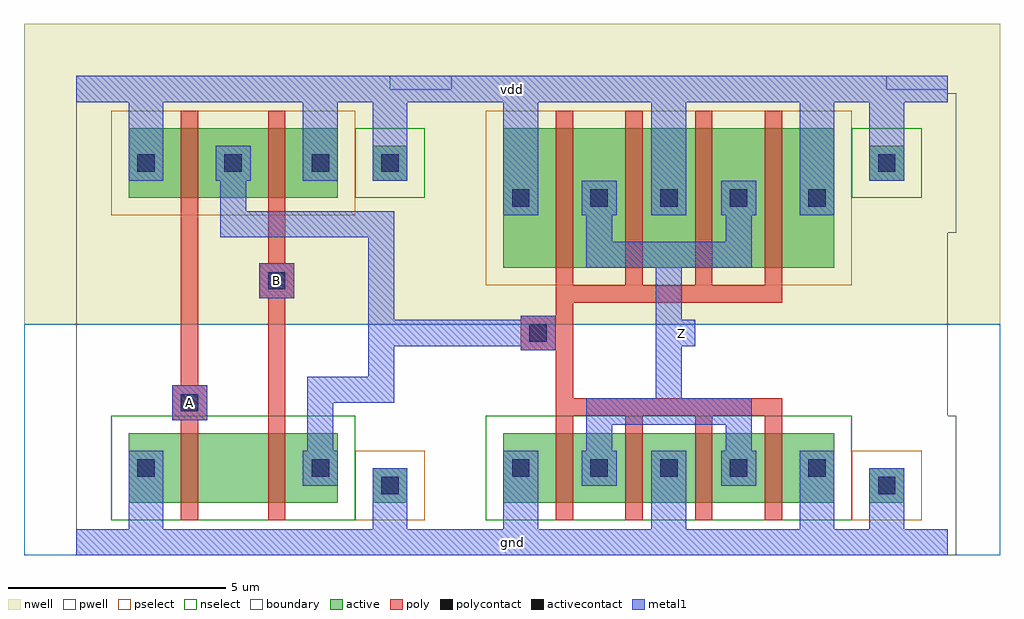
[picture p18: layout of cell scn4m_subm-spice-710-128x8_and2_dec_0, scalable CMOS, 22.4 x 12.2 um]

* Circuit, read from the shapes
.subckt scn4m_subm-spice-710-128x8_and2_dec_0 A B Z gnd vdd
M1 scn4m_subm-spice-710-128x8_pnand2_0/scn4m_subm-spice-710-128x8_nmos_m1_w1_600_sm1_dactive_2/D A gnd gnd nfet w=1.6u l=0.4u
M2 scn4m_subm-spice-710-128x8_pinv_0_1/A B scn4m_subm-spice-710-128x8_pnand2_0/scn4m_subm-spice-710-128x8_nmos_m1_w1_600_sm1_dactive_2/D gnd nfet w=1.6u l=0.4u
M3 Z scn4m_subm-spice-710-128x8_pinv_0_1/A gnd gnd nfet w=1.6u l=0.4u m=4
M4 scn4m_subm-spice-710-128x8_pinv_0_1/A A vdd vdd pfet w=1.6u l=0.4u
M5 vdd B scn4m_subm-spice-710-128x8_pinv_0_1/A vdd pfet w=1.6u l=0.4u
M6 Z scn4m_subm-spice-710-128x8_pinv_0_1/A vdd vdd pfet w=3.2u l=0.4u m=4
.ends

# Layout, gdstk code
import gdstk
lib = gdstk.Library(unit=1e-6, precision=1e-09)
def R(c, l, rs):  # rectangles x0, y0, x1, y1
    for r in rs: c.add(gdstk.rectangle(r[:2], r[2:], *l))
def A(c, l, x, y, w, h, nx, ny, dx, dy):  # array of equal rectangles
    R(c, l, [(x+i*dx, y+j*dy, x+i*dx+w, y+j*dy+h) for i in range(nx) for j in range(ny)])
pwell = (41, 0)
nwell = (42, 0)
active = (43, 0)
pselect = (44, 0)
nselect = (45, 0)
poly = (46, 0)
polycontact = (47, 0)
activecontact = (48, 0)
metal1 = (49, 0)
boundary = (63, 0)

scn4m_subm_spice_710_128 = lib.new_cell('scn4m_subm-spice-710-128x8_contact_12')
R(scn4m_subm_spice_710_128, nwell, [(-1.2,-1.2,2,2)])
R(scn4m_subm_spice_710_128, active, [(0,0,0.8,0.8)])
R(scn4m_subm_spice_710_128, pselect, [(-0.4,-0.4,1.2,1.2)])
R(scn4m_subm_spice_710_128, activecontact, [(0.2,0.2,0.6,0.6)])
R(scn4m_subm_spice_710_128, metal1, [(0,0,0.8,0.8)])
R(scn4m_subm_spice_710_128, boundary, [(-1.2,-1.2,2,2)])

c_scn4m_subm_spice_710_128 = lib.new_cell('scn4m_subm-spice-710-128x8_pmos_m1_w1_600_sm1_dm1')
R(c_scn4m_subm_spice_710_128, nwell, [(-1.2,-1.2,4,2.8)])
R(c_scn4m_subm_spice_710_128, active, [(0,0,2.8,1.6)])
R(c_scn4m_subm_spice_710_128, pselect, [(-0.4,-0.4,3.2,2)])
R(c_scn4m_subm_spice_710_128, poly, [(1.2,-0.4,1.6,2), (1.2,-0.4,1.6,2)])
R(c_scn4m_subm_spice_710_128, metal1, [(0,0.4,0.8,1.2), (2,0.4,2.8,1.2)])
R(c_scn4m_subm_spice_710_128, boundary, [(-1.2,-1.2,4,2.8)])
c_scn4m_subm_spice_710_128.add(gdstk.Reference(scn4m_subm_spice_710_128, (0,0.4)))
c_scn4m_subm_spice_710_128.add(gdstk.Reference(scn4m_subm_spice_710_128, (2,0.4)))
c_scn4m_subm_spice_710_128.add(gdstk.Label('G', (1.4,0.8), layer=46, texttype=0))
c_scn4m_subm_spice_710_128.add(gdstk.Label('S', (0.4,0.8), layer=49, texttype=0))
c_scn4m_subm_spice_710_128.add(gdstk.Label('D', (2.4,0.8), layer=49, texttype=0))

c_scn4m_subm_spice_710_128_ = lib.new_cell('scn4m_subm-spice-710-128x8_contact_11')
R(c_scn4m_subm_spice_710_128_, pwell, [(-1.2,-1.2,2,2)])
R(c_scn4m_subm_spice_710_128_, active, [(0,0,0.8,0.8)])
R(c_scn4m_subm_spice_710_128_, nselect, [(-0.4,-0.4,1.2,1.2)])
R(c_scn4m_subm_spice_710_128_, activecontact, [(0.2,0.2,0.6,0.6)])
R(c_scn4m_subm_spice_710_128_, metal1, [(0,0,0.8,0.8)])
R(c_scn4m_subm_spice_710_128_, boundary, [(-1.2,-1.2,2,2)])

c_scn4m_subm_spice_710_128__ = lib.new_cell('scn4m_subm-spice-710-128x8_nmos_m1_w1_600_sm1_dactive')
R(c_scn4m_subm_spice_710_128__, pwell, [(-1.2,-1.2,4,2.8)])
R(c_scn4m_subm_spice_710_128__, active, [(0,0,2.8,1.6), (2.1,0.5,2.7,1.1)])
R(c_scn4m_subm_spice_710_128__, nselect, [(-0.4,-0.4,3.2,2)])
R(c_scn4m_subm_spice_710_128__, poly, [(1.2,-0.4,1.6,2), (1.2,-0.4,1.6,2)])
R(c_scn4m_subm_spice_710_128__, metal1, [(0,0.4,0.8,1.2)])
R(c_scn4m_subm_spice_710_128__, boundary, [(-1.2,-1.2,4,2.8)])
c_scn4m_subm_spice_710_128__.add(gdstk.Reference(c_scn4m_subm_spice_710_128_, (0,0.4)))
c_scn4m_subm_spice_710_128__.add(gdstk.Label('G', (1.4,0.8), layer=46, texttype=0))
c_scn4m_subm_spice_710_128__.add(gdstk.Label('S', (0.4,0.8), layer=49, texttype=0))
c_scn4m_subm_spice_710_128__.add(gdstk.Label('D', (2.4,0.8), layer=43, texttype=0))

c_scn4m_subm_spice_710_128___ = lib.new_cell('scn4m_subm-spice-710-128x8_nmos_m1_w1_600_sactive_dm1')
R(c_scn4m_subm_spice_710_128___, pwell, [(-1.2,-1.2,4,2.8)])
R(c_scn4m_subm_spice_710_128___, active, [(0,0,2.8,1.6), (0.1,0.5,0.7,1.1)])
R(c_scn4m_subm_spice_710_128___, nselect, [(-0.4,-0.4,3.2,2)])
R(c_scn4m_subm_spice_710_128___, poly, [(1.2,-0.4,1.6,2), (1.2,-0.4,1.6,2)])
R(c_scn4m_subm_spice_710_128___, metal1, [(2,0.4,2.8,1.2)])
R(c_scn4m_subm_spice_710_128___, boundary, [(-1.2,-1.2,4,2.8)])
c_scn4m_subm_spice_710_128___.add(gdstk.Reference(c_scn4m_subm_spice_710_128_, (2,0.4)))
c_scn4m_subm_spice_710_128___.add(gdstk.Label('G', (1.4,0.8), layer=46, texttype=0))
c_scn4m_subm_spice_710_128___.add(gdstk.Label('S', (0.4,0.8), layer=43, texttype=0))
c_scn4m_subm_spice_710_128___.add(gdstk.Label('D', (2.4,0.8), layer=49, texttype=0))

c_scn4m_subm_spice_710_128____ = lib.new_cell('scn4m_subm-spice-710-128x8_contact_13')
R(c_scn4m_subm_spice_710_128____, nwell, [(-1.2,-1.2,2,2)])
R(c_scn4m_subm_spice_710_128____, active, [(0,0,0.8,0.8)])
R(c_scn4m_subm_spice_710_128____, nselect, [(-0.4,-0.4,1.2,1.2)])
R(c_scn4m_subm_spice_710_128____, activecontact, [(0.2,0.2,0.6,0.6)])
R(c_scn4m_subm_spice_710_128____, metal1, [(0,0,0.8,0.8)])
R(c_scn4m_subm_spice_710_128____, boundary, [(-1.2,-1.2,2,2)])

c_scn4m_subm_spice_710_128_____ = lib.new_cell('scn4m_subm-spice-710-128x8_contact_14')
R(c_scn4m_subm_spice_710_128_____, pwell, [(-1.2,-1.2,2,2)])
R(c_scn4m_subm_spice_710_128_____, active, [(0,0,0.8,0.8)])
R(c_scn4m_subm_spice_710_128_____, pselect, [(-0.4,-0.4,1.2,1.2)])
R(c_scn4m_subm_spice_710_128_____, activecontact, [(0.2,0.2,0.6,0.6)])
R(c_scn4m_subm_spice_710_128_____, metal1, [(0,0,0.8,0.8)])
R(c_scn4m_subm_spice_710_128_____, boundary, [(-1.2,-1.2,2,2)])

c_scn4m_subm_spice_710_128______ = lib.new_cell('scn4m_subm-spice-710-128x8_contact_15')
R(c_scn4m_subm_spice_710_128______, poly, [(0,0,0.8,0.8)])
R(c_scn4m_subm_spice_710_128______, polycontact, [(0.2,0.2,0.6,0.6)])
R(c_scn4m_subm_spice_710_128______, metal1, [(0,0,0.8,0.8)])
R(c_scn4m_subm_spice_710_128______, boundary, [(0,0,0.8,0.8)])

c_scn4m_subm_spice_710_128_______ = lib.new_cell('scn4m_subm-spice-710-128x8_pnand2')
R(c_scn4m_subm_spice_710_128_______, pwell, [(-1.2,-0.3,9.8,5)])
R(c_scn4m_subm_spice_710_128_______, nwell, [(-1.2,5,9.8,11.9)])
R(c_scn4m_subm_spice_710_128_______, poly, [(2.4,2.8,2.6,3.6), (2.4,2.9,2.8,7.5), (4.4,2.9,4.8,7.5), (4.4,5.6,4.6,6.4)])
R(c_scn4m_subm_spice_710_128_______, metal1, [(0,-0.3,8.6,0.3), (1.2,-0.3,2,1.3), (6.8,0,7.6,1.3), (5.3,2.1,5.9,3.5), (2.2,2.8,3,3.6), (5.3,3.2,5.9,3.8), (5.6,3.2,7,3.8), (6.7,3.2,7.3,3.8), (6.7,3.5,7.3,7.3), (4.2,5.6,5,6.4), (3.3,7,3.9,7.6), (3.6,7,7,7.6), (6.7,7,7.3,7.6), (3.3,7.3,3.9,8.3), (1.2,8.3,2,10.7), (5.2,8.3,6,10.7), (6.8,8.7,7.6,10.4), (0,10.1,8.6,10.7)])
R(c_scn4m_subm_spice_710_128_______, boundary, [(0,0,8.6,10.4), (0,0,8.6,10.4)])
c_scn4m_subm_spice_710_128_______.add(gdstk.Reference(c_scn4m_subm_spice_710_128, (1.2,7.9)))
c_scn4m_subm_spice_710_128_______.add(gdstk.Reference(c_scn4m_subm_spice_710_128, (3.2,7.9)))
c_scn4m_subm_spice_710_128_______.add(gdstk.Reference(c_scn4m_subm_spice_710_128__, (1.2,0.9)))
c_scn4m_subm_spice_710_128_______.add(gdstk.Reference(c_scn4m_subm_spice_710_128___, (3.2,0.9)))
c_scn4m_subm_spice_710_128_______.add(gdstk.Reference(c_scn4m_subm_spice_710_128____, (6.8,8.3)))
c_scn4m_subm_spice_710_128_______.add(gdstk.Reference(c_scn4m_subm_spice_710_128_____, (6.8,0.9)))
c_scn4m_subm_spice_710_128_______.add(gdstk.Reference(c_scn4m_subm_spice_710_128______, (2.2,2.8)))
c_scn4m_subm_spice_710_128_______.add(gdstk.Reference(c_scn4m_subm_spice_710_128______, (4.2,5.6)))
c_scn4m_subm_spice_710_128_______.add(gdstk.Label('Z', (7,7.3), layer=49, texttype=0))
c_scn4m_subm_spice_710_128_______.add(gdstk.Label('gnd', (4.3,0), layer=49, texttype=0))
c_scn4m_subm_spice_710_128_______.add(gdstk.Label('vdd', (4.3,10.4), layer=49, texttype=0))
c_scn4m_subm_spice_710_128_______.add(gdstk.Label('A', (2.6,3.2), layer=49, texttype=0))
c_scn4m_subm_spice_710_128_______.add(gdstk.Label('B', (4.6,6), layer=49, texttype=0))

c_scn4m_subm_spice_710_128________ = lib.new_cell('scn4m_subm-spice-710-128x8_pmos_m4_w3_200_sm1_dm1_da_p')
R(c_scn4m_subm_spice_710_128________, nwell, [(-1.2,-1.2,8.8,4.4)])
R(c_scn4m_subm_spice_710_128________, active, [(0,0,7.6,3.2)])
R(c_scn4m_subm_spice_710_128________, pselect, [(-0.4,-0.4,8,3.6)])
A(c_scn4m_subm_spice_710_128________, poly, 1.2, -0.4, 0.4, 4, 4, 1, 1.6, 0)
R(c_scn4m_subm_spice_710_128________, poly, [(1.2,-0.8,6.4,-0.4)])
A(c_scn4m_subm_spice_710_128________, metal1, 0, 1.2, 0.8, 0.8, 3, 1, 3.4, 0)
R(c_scn4m_subm_spice_710_128________, metal1, [(1.9,0,5.7,0.6), (1.9,0.3,2.5,1.6), (5.1,0.3,5.7,1.6)])
R(c_scn4m_subm_spice_710_128________, boundary, [(-1.2,-1.2,8.8,4.4)])
c_scn4m_subm_spice_710_128________.add(gdstk.Reference(scn4m_subm_spice_710_128, (0,1.2)))
c_scn4m_subm_spice_710_128________.add(gdstk.Reference(scn4m_subm_spice_710_128, (1.8,1.2)))
c_scn4m_subm_spice_710_128________.add(gdstk.Reference(scn4m_subm_spice_710_128, (3.4,1.2)))
c_scn4m_subm_spice_710_128________.add(gdstk.Reference(scn4m_subm_spice_710_128, (5,1.2)))
c_scn4m_subm_spice_710_128________.add(gdstk.Reference(scn4m_subm_spice_710_128, (6.8,1.2)))
c_scn4m_subm_spice_710_128________.add(gdstk.Label('G', (3.8,-0.6), layer=46, texttype=0))
c_scn4m_subm_spice_710_128________.add(gdstk.Label('S', (0.4,1.6), layer=49, texttype=0))
c_scn4m_subm_spice_710_128________.add(gdstk.Label('S', (7.2,1.6), layer=49, texttype=0))
c_scn4m_subm_spice_710_128________.add(gdstk.Label('S', (3.8,1.6), layer=49, texttype=0))
c_scn4m_subm_spice_710_128________.add(gdstk.Label('D', (3.8,0.3), layer=49, texttype=0))

c_scn4m_subm_spice_710_128_________ = lib.new_cell('scn4m_subm-spice-710-128x8_nmos_m4_w1_600_sm1_dm1_da_p')
R(c_scn4m_subm_spice_710_128_________, pwell, [(-1.2,-1.2,8.8,2.8)])
R(c_scn4m_subm_spice_710_128_________, active, [(0,0,7.6,1.6)])
R(c_scn4m_subm_spice_710_128_________, nselect, [(-0.4,-0.4,8,2)])
A(c_scn4m_subm_spice_710_128_________, poly, 1.2, -0.4, 0.4, 2.4, 4, 1, 1.6, 0)
R(c_scn4m_subm_spice_710_128_________, poly, [(1.2,2,6.4,2.4)])
A(c_scn4m_subm_spice_710_128_________, metal1, 0, 0.4, 0.8, 0.8, 3, 1, 3.4, 0)
R(c_scn4m_subm_spice_710_128_________, metal1, [(1.9,0.8,2.5,2.1), (5.1,0.8,5.7,2.1), (1.9,1.8,5.7,2.4)])
R(c_scn4m_subm_spice_710_128_________, boundary, [(-1.2,-1.2,8.8,2.8)])
c_scn4m_subm_spice_710_128_________.add(gdstk.Reference(c_scn4m_subm_spice_710_128_, (0,0.4)))
c_scn4m_subm_spice_710_128_________.add(gdstk.Reference(c_scn4m_subm_spice_710_128_, (1.8,0.4)))
c_scn4m_subm_spice_710_128_________.add(gdstk.Reference(c_scn4m_subm_spice_710_128_, (3.4,0.4)))
c_scn4m_subm_spice_710_128_________.add(gdstk.Reference(c_scn4m_subm_spice_710_128_, (5,0.4)))
c_scn4m_subm_spice_710_128_________.add(gdstk.Reference(c_scn4m_subm_spice_710_128_, (6.8,0.4)))
c_scn4m_subm_spice_710_128_________.add(gdstk.Label('G', (3.8,2.2), layer=46, texttype=0))
c_scn4m_subm_spice_710_128_________.add(gdstk.Label('S', (7.2,0.8), layer=49, texttype=0))
c_scn4m_subm_spice_710_128_________.add(gdstk.Label('S', (0.4,0.8), layer=49, texttype=0))
c_scn4m_subm_spice_710_128_________.add(gdstk.Label('S', (3.8,0.8), layer=49, texttype=0))
c_scn4m_subm_spice_710_128_________.add(gdstk.Label('D', (3.8,2.1), layer=49, texttype=0))

c_scn4m_subm_spice_710_128__________ = lib.new_cell('scn4m_subm-spice-710-128x8_pinv_0')
R(c_scn4m_subm_spice_710_128__________, pwell, [(-1.2,-0.3,12.6,5)])
R(c_scn4m_subm_spice_710_128__________, nwell, [(-1.2,5,12.6,11.9)])
R(c_scn4m_subm_spice_710_128__________, poly, [(2.4,3.3,2.8,5.5), (2,4.4,2.4,5.2)])
A(c_scn4m_subm_spice_710_128__________, metal1, 1.2, -0.3, 0.8, 1.6, 3, 1, 3.4, 0)
A(c_scn4m_subm_spice_710_128__________, metal1, 1.2, 7.5, 0.8, 3.2, 3, 1, 3.4, 0)
R(c_scn4m_subm_spice_710_128__________, metal1, [(0,-0.3,11.4,0.3), (9.6,0,10.4,1.3), (4.7,2.7,5.3,6.9), (1.6,4.4,2.4,5.2), (5,4.5,5.6,5.1), (9.6,8.7,10.4,10.4), (0,10.1,11.4,10.7)])
R(c_scn4m_subm_spice_710_128__________, boundary, [(0,0,11.4,10.4), (0,0,11.4,10.4)])
c_scn4m_subm_spice_710_128__________.add(gdstk.Reference(c_scn4m_subm_spice_710_128________, (1.2,6.3)))
c_scn4m_subm_spice_710_128__________.add(gdstk.Reference(c_scn4m_subm_spice_710_128_________, (1.2,0.9)))
c_scn4m_subm_spice_710_128__________.add(gdstk.Reference(c_scn4m_subm_spice_710_128____, (9.6,8.3)))
c_scn4m_subm_spice_710_128__________.add(gdstk.Reference(c_scn4m_subm_spice_710_128_____, (9.6,0.9)))
c_scn4m_subm_spice_710_128__________.add(gdstk.Reference(c_scn4m_subm_spice_710_128______, (1.6,4.4)))
c_scn4m_subm_spice_710_128__________.add(gdstk.Label('A', (2,4.8), layer=49, texttype=0))
c_scn4m_subm_spice_710_128__________.add(gdstk.Label('Z', (5.3,4.8), layer=49, texttype=0))
c_scn4m_subm_spice_710_128__________.add(gdstk.Label('gnd', (5.7,0), layer=49, texttype=0))
c_scn4m_subm_spice_710_128__________.add(gdstk.Label('vdd', (5.7,10.4), layer=49, texttype=0))

c_scn4m_subm_spice_710_128___________ = lib.new_cell('scn4m_subm-spice-710-128x8_and2_dec_0')
R(c_scn4m_subm_spice_710_128___________, metal1, [(0,-0.3,20,0.3), (2.2,2.8,3,3.6), (6.7,4.5,7.3,5.1), (7,4.5,10.6,5.1), (13.6,4.5,14.2,5.1), (6.7,4.8,7.3,7.3), (4.2,5.6,5,6.4), (0,10.1,20,10.7)])
R(c_scn4m_subm_spice_710_128___________, boundary, [(0,0,20,10.4)])
c_scn4m_subm_spice_710_128___________.add(gdstk.Reference(c_scn4m_subm_spice_710_128_______, (0,0)))
c_scn4m_subm_spice_710_128___________.add(gdstk.Reference(c_scn4m_subm_spice_710_128__________, (8.6,0)))
c_scn4m_subm_spice_710_128___________.add(gdstk.Label('Z', (13.9,4.8), layer=49, texttype=0))
c_scn4m_subm_spice_710_128___________.add(gdstk.Label('A', (2.6,3.2), layer=49, texttype=0))
c_scn4m_subm_spice_710_128___________.add(gdstk.Label('B', (4.6,6), layer=49, texttype=0))
c_scn4m_subm_spice_710_128___________.add(gdstk.Label('gnd', (10,0), layer=49, texttype=0))
c_scn4m_subm_spice_710_128___________.add(gdstk.Label('vdd', (10,10.4), layer=49, texttype=0))

lib.write_gds('scn4m_subm-spice-710-128x8_and2_dec_0.gds')
